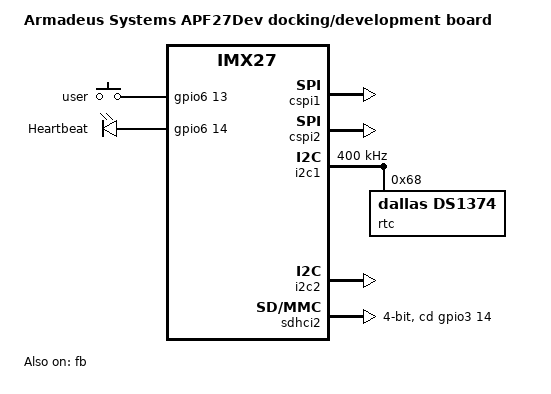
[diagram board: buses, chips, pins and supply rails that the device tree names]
/*
 * Copyright 2013 Armadeus Systems - <support@armadeus.com>
 *
 * The code contained herein is licensed under the GNU General Public
 * License. You may obtain a copy of the GNU General Public License
 * Version 2 or later at the following locations:
 *
 * http://www.opensource.org/licenses/gpl-license.html
 * http://www.gnu.org/copyleft/gpl.html
 */

/* APF27Dev is a docking board for the APF27 SOM */
#include "imx27-apf27.dts"

/ {
	model = "Armadeus Systems APF27Dev docking/development board";
	compatible = "armadeus,imx27-apf27dev", "armadeus,imx27-apf27", "fsl,imx27";

	display: display {
		model = "Chimei-LW700AT9003";
		native-mode = <&timing0>;
		bits-per-pixel = <16>;  /* non-standard but required */
		fsl,pcr = <0xfae80083>;	/* non-standard but required */
		display-timings {
			timing0: 800x480 {
				clock-frequency = <33000033>;
				hactive = <800>;
				vactive = <480>;
				hback-porch = <96>;
				hfront-porch = <96>;
				vback-porch = <20>;
				vfront-porch = <21>;
				hsync-len = <64>;
				vsync-len = <4>;
			};
		};
	};

	gpio-keys {
		compatible = "gpio-keys";

		user-key {
			label = "user";
			gpios = <&gpio6 13 GPIO_ACTIVE_HIGH>;
			linux,code = <276>; /* BTN_EXTRA */
		};
	};

	leds {
		compatible = "gpio-leds";

		user {
			label = "Heartbeat";
			gpios = <&gpio6 14 GPIO_ACTIVE_HIGH>;
			linux,default-trigger = "heartbeat";
		};
	};
};

&cspi1 {
	fsl,spi-num-chipselects = <1>;
	cs-gpios = <&gpio4 28 GPIO_ACTIVE_LOW>;
	pinctrl-names = "default";
	pinctrl-0 = <&pinctrl_cspi1>;
	status = "okay";
};

&cspi2 {
	fsl,spi-num-chipselects = <3>;
	cs-gpios = <&gpio4 21 GPIO_ACTIVE_LOW>,
		   <&gpio4 27 GPIO_ACTIVE_LOW>,
		   <&gpio2 17 GPIO_ACTIVE_LOW>;
	pinctrl-names = "default";
	pinctrl-0 = <&pinctrl_cspi2>;
	status = "okay";
};

&fb {
	display = <&display>;
	fsl,dmacr = <0x00020010>;
	pinctrl-names = "default";
	pinctrl-0 = <&pinctrl_imxfb1>;
	status = "okay";
};

&i2c1 {
	clock-frequency = <400000>;
	pinctrl-names = "default";
	pinctrl-0 = <&pinctrl_i2c1>;
	status = "okay";

	rtc@68 {
		compatible = "dallas,ds1374";
		reg = <0x68>;
	};
};

&i2c2 {
	pinctrl-names = "default";
	pinctrl-0 = <&pinctrl_i2c2>;
	status = "okay";
};

&iomuxc {
	imx27-apf27dev {
		pinctrl_cspi1: cspi1grp {
			fsl,pins = <MX27_CSPI1_PINGRP1>;
		};

		pinctrl_cspi2: cspi2grp {
			fsl,pins = <MX27_CSPI2_PINGRP1>;
		};

		pinctrl_imxfb1: imxfbgrp {
			fsl,pins = <MX27_FB_PINGRP1>;
		};

		pinctrl_i2c1: i2c1grp {
			fsl,pins = <MX27_I2C1_PINGRP1>;
		};

		pinctrl_i2c2: i2c2grp {
			fsl,pins = <MX27_I2C2_PINGRP1>;
		};

		pinctrl_sdhc2: sdhc2grp {
			fsl,pins = <MX27_SDHC2_PINGRP1>;
		};
	};
};

&sdhci2 {
	bus-width = <4>;
	cd-gpios = <&gpio3 14 GPIO_ACTIVE_HIGH>;
	pinctrl-names = "default";
	pinctrl-0 = <&pinctrl_sdhc2>;
	status = "okay";
};
